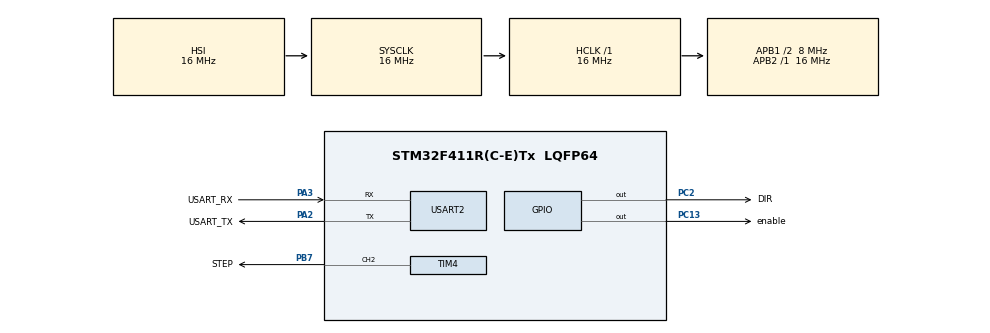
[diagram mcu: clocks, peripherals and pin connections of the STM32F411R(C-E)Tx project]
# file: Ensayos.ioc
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Mcu.Family=STM32F4
Mcu.Name=STM32F411R(C-E)Tx
Mcu.Package=LQFP64
NVIC.PriorityGroup=NVIC_PRIORITYGROUP_0
NVIC.USART2_IRQn=true\:0\:0\:false\:false\:true\:true\:true\:true
PA13.GPIO_Label=TMS
PA13.Mode=Serial_Wire
PA13.Signal=SYS_JTMS-SWDIO
PA14.GPIO_Label=TCK
PA14.Mode=Serial_Wire
PA14.Signal=SYS_JTCK-SWCLK
PA2.GPIO_Label=USART_TX
PA2.Mode=Asynchronous
PA2.Signal=USART2_TX
PA3.GPIO_Label=USART_RX
PA3.Mode=Asynchronous
PA3.Signal=USART2_RX
PB3.GPIO_Label=SWO
PB3.Signal=SYS_JTDO-SWO
PB7.GPIO_Label=STEP
PB7.Signal=S_TIM4_CH2
PC13-ANTI_TAMP.GPIO_Label=enable
PC13-ANTI_TAMP.Signal=GPIO_Output
PC2.GPIO_Label=DIR
PC2.Signal=GPIO_Output
ProjectManager.HeapSize=0x200
ProjectManager.StackSize=0x400
ProjectManager.TargetToolchain=STM32CubeIDE
RCC.48MHZClocksFreq_Value=84000000
RCC.AHBFreq_Value=16000000
RCC.APB1CLKDivider=RCC_HCLK_DIV2
RCC.APB1Freq_Value=8000000
RCC.APB1TimFreq_Value=16000000
RCC.APB2Freq_Value=16000000
RCC.APB2TimFreq_Value=16000000
RCC.CortexFreq_Value=16000000
RCC.FLatency-AdvancedSettings=FLASH_LATENCY_0
RCC.HCLKFreq_Value=16000000
RCC.HSE_VALUE=8000000
RCC.HSI_VALUE=16000000
RCC.LSE_VALUE=32768
RCC.PLLN=336
RCC.PLLP=RCC_PLLP_DIV4
RCC.SYSCLKFreq_VALUE=16000000
RCC.VCOOutputFreq_Value=336000000
SH.S_TIM4_CH2.0=TIM4_CH2,PWM Generation2 CH2
TIM4.Channel-PWM\ Generation2\ CH2=TIM_CHANNEL_2
TIM4.Period=50
TIM4.Prescaler=10000
TIM4.Pulse-PWM\ Generation2\ CH2=50
USART2.VirtualMode=VM_ASYNC
VP_TIM4_VS_ClockSourceINT.Mode=Internal
board=NUCLEO-F411RE

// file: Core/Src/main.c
/* USER CODE BEGIN Header */
/**
  ******************************************************************************
  * @file           : main.c
  * @brief          : Main program body
  ******************************************************************************
  * @attention
  *
  * Copyright (c) 2025 STMicroelectronics.
  * All rights reserved.
  *
  * This software is licensed under terms that can be found in the LICENSE file
  * in the root directory of this software component.
  * If no LICENSE file comes with this software, it is provided AS-IS.
  *
  ******************************************************************************
  */
/* USER CODE END Header */
#include "main.h"

/* USER CODE BEGIN Includes */
#include "stdio.h"
#include "string.h"
/* USER CODE END Includes */

/* USER CODE BEGIN PTD */
typedef enum{
	bufferA,
	bufferB
}bufferActivo;
/* USER CODE END PTD */

/* USER CODE BEGIN PD */
//Definimos el tamaño de los datos que vamos a recibir en la DMA
#define UART_Rx_BUFFER_SIZE 64
/* USER CODE END PD */

TIM_HandleTypeDef htim4;

UART_HandleTypeDef huart2;

/* USER CODE BEGIN PV */
//Creamos los dos buffer con los que vamos a implementar el ping pong
uint8_t rx_buffer_a =0;
uint8_t rx_buffer_b =0;
// Creamos un buffer donde se va a almcenar los datos recibidos
uint8_t UART2_RxBuffer[UART_Rx_BUFFER_SIZE];
//Creamos un segundo buffer, con el fin de que cuando estemos utilizando
//Un conjunto de datos determinado no vayamos a sobreescribir en él al
//recibir otro
uint8_t data_to_process [UART_Rx_BUFFER_SIZE];
//Creamos una bandera
volatile uint16_t data_lenght =0;
extern UART_HandleTypeDef huart2;

/* USER CODE END PV */

void SystemClock_Config(void);
static void MX_GPIO_Init(void);
static void MX_USART2_UART_Init(void);
static void MX_TIM4_Init(void);
/* USER CODE BEGIN PFP */
void mover_motor(int pasos, GPIO_PinState direccion);
/* USER CODE END PFP */

int main(void)
{

  /* MCU Configuration--------------------------------------------------------*/

  /* Reset of all peripherals, Initializes the Flash interface and the Systick. */
  HAL_Init();

  /* Configure the system clock */
  SystemClock_Config();

  /* Initialize all configured peripherals */
  MX_GPIO_Init();
  MX_USART2_UART_Init();
  MX_TIM4_Init();
  /* USER CODE BEGIN 2 */
  HAL_GPIO_WritePin(DIR_GPIO_Port, DIR_Pin, GPIO_PIN_SET);
  HAL_TIM_Base_Start(&htim4);
  HAL_TIM_PWM_Start(&htim4, TIM_CHANNEL_2);
  HAL_GPIO_WritePin(enable_GPIO_Port, enable_Pin, GPIO_PIN_RESET);
  HAL_Delay(200);
  HAL_TIM_PWM_Stop(&htim4,TIM_CHANNEL_2);

  /* USER CODE END 2 */

  /* Infinite loop */
  /* USER CODE BEGIN WHILE */

;  while (1)
  {
    /* USER CODE END WHILE */

    /* USER CODE BEGIN 3 */
	//mover_motor(200, GPIO_PIN_SET);
  }
  /* USER CODE END 3 */
}

void SystemClock_Config(void)
{
  RCC_OscInitTypeDef RCC_OscInitStruct = {0};
  RCC_ClkInitTypeDef RCC_ClkInitStruct = {0};

  /** Configure the main internal regulator output voltage
  */
  __HAL_RCC_PWR_CLK_ENABLE();
  __HAL_PWR_VOLTAGESCALING_CONFIG(PWR_REGULATOR_VOLTAGE_SCALE1);

  /** Initializes the RCC Oscillators according to the specified parameters
  * in the RCC_OscInitTypeDef structure.
  */
  RCC_OscInitStruct.OscillatorType = RCC_OSCILLATORTYPE_HSI;
  RCC_OscInitStruct.HSIState = RCC_HSI_ON;
  RCC_OscInitStruct.HSICalibrationValue = RCC_HSICALIBRATION_DEFAULT;
  RCC_OscInitStruct.PLL.PLLState = RCC_PLL_NONE;
  if (HAL_RCC_OscConfig(&RCC_OscInitStruct) != HAL_OK)
  {
    Error_Handler();
  }

  /** Initializes the CPU, AHB and APB buses clocks
  */
  RCC_ClkInitStruct.ClockType = RCC_CLOCKTYPE_HCLK|RCC_CLOCKTYPE_SYSCLK
                              |RCC_CLOCKTYPE_PCLK1|RCC_CLOCKTYPE_PCLK2;
  RCC_ClkInitStruct.SYSCLKSource = RCC_SYSCLKSOURCE_HSI;
  RCC_ClkInitStruct.AHBCLKDivider = RCC_SYSCLK_DIV1;
  RCC_ClkInitStruct.APB1CLKDivider = RCC_HCLK_DIV2;
  RCC_ClkInitStruct.APB2CLKDivider = RCC_HCLK_DIV1;

  if (HAL_RCC_ClockConfig(&RCC_ClkInitStruct, FLASH_LATENCY_0) != HAL_OK)
  {
    Error_Handler();
  }
}

static void MX_TIM4_Init(void)
{

  TIM_ClockConfigTypeDef sClockSourceConfig = {0};
  TIM_MasterConfigTypeDef sMasterConfig = {0};
  TIM_OC_InitTypeDef sConfigOC = {0};

  htim4.Instance = TIM4;
  htim4.Init.Prescaler = 10000;
  htim4.Init.CounterMode = TIM_COUNTERMODE_UP;
  htim4.Init.Period = 50;
  htim4.Init.ClockDivision = TIM_CLOCKDIVISION_DIV1;
  htim4.Init.AutoReloadPreload = TIM_AUTORELOAD_PRELOAD_DISABLE;
  if (HAL_TIM_Base_Init(&htim4) != HAL_OK)
  {
    Error_Handler();
  }
  sClockSourceConfig.ClockSource = TIM_CLOCKSOURCE_INTERNAL;
  if (HAL_TIM_ConfigClockSource(&htim4, &sClockSourceConfig) != HAL_OK)
  {
    Error_Handler();
  }
  if (HAL_TIM_PWM_Init(&htim4) != HAL_OK)
  {
    Error_Handler();
  }
  sMasterConfig.MasterOutputTrigger = TIM_TRGO_RESET;
  sMasterConfig.MasterSlaveMode = TIM_MASTERSLAVEMODE_DISABLE;
  if (HAL_TIMEx_MasterConfigSynchronization(&htim4, &sMasterConfig) != HAL_OK)
  {
    Error_Handler();
  }
  sConfigOC.OCMode = TIM_OCMODE_PWM1;
  sConfigOC.Pulse = 50;
  sConfigOC.OCPolarity = TIM_OCPOLARITY_HIGH;
  sConfigOC.OCFastMode = TIM_OCFAST_DISABLE;
  if (HAL_TIM_PWM_ConfigChannel(&htim4, &sConfigOC, TIM_CHANNEL_2) != HAL_OK)
  {
    Error_Handler();
  }
  HAL_TIM_MspPostInit(&htim4);

}

static void MX_USART2_UART_Init(void)
{

  huart2.Instance = USART2;
  huart2.Init.BaudRate = 115200;
  huart2.Init.WordLength = UART_WORDLENGTH_8B;
  huart2.Init.StopBits = UART_STOPBITS_1;
  huart2.Init.Parity = UART_PARITY_NONE;
  huart2.Init.Mode = UART_MODE_TX_RX;
  huart2.Init.HwFlowCtl = UART_HWCONTROL_NONE;
  huart2.Init.OverSampling = UART_OVERSAMPLING_16;
  if (HAL_UART_Init(&huart2) != HAL_OK)
  {
    Error_Handler();
  }

}

static void MX_GPIO_Init(void)
{
  GPIO_InitTypeDef GPIO_InitStruct = {0};

  /* GPIO Ports Clock Enable */
  __HAL_RCC_GPIOC_CLK_ENABLE();
  __HAL_RCC_GPIOA_CLK_ENABLE();
  __HAL_RCC_GPIOB_CLK_ENABLE();

  /*Configure GPIO pin Output Level */
  HAL_GPIO_WritePin(GPIOC, enable_Pin|DIR_Pin, GPIO_PIN_RESET);

  /*Configure GPIO pins : enable_Pin DIR_Pin */
  GPIO_InitStruct.Pin = enable_Pin|DIR_Pin;
  GPIO_InitStruct.Mode = GPIO_MODE_OUTPUT_PP;
  GPIO_InitStruct.Pull = GPIO_NOPULL;
  GPIO_InitStruct.Speed = GPIO_SPEED_FREQ_LOW;
  HAL_GPIO_Init(GPIOC, &GPIO_InitStruct);

}

/* USER CODE BEGIN 4 */

void mover_motor(int pasos, GPIO_PinState direccion) {
    // 1. Establecer dirección
    HAL_GPIO_WritePin(DIR_GPIO_Port, DIR_Pin, direccion); // PA0: DIR

    // 3. Enviar pasos
    for (int i = 0; i < pasos; i++) {
        //HAL_GPIO_WritePin(STEP_GPIO_Port, STEP_Pin, GPIO_PIN_SET);   // STEP en HIGH
        HAL_Delay(20);  // 1 ms (controla velocidad)
        //HAL_GPIO_WritePin(STEP_GPIO_Port, STEP_Pin, GPIO_PIN_RESET); // STEP en LOW
        HAL_Delay(20);  // 1 ms
    }
}

/* USER CODE END 4 */

void Error_Handler(void)
{
  __disable_irq();
  while (1)
  {
  }
}
